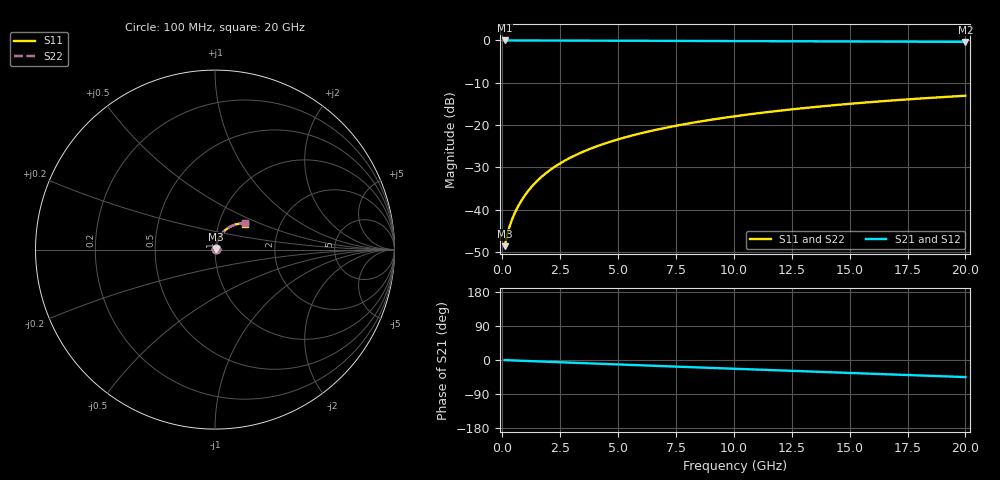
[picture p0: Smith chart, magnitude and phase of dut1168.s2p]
! Touchstone file exported from HFSS 2026.1.0
!  File:  C:/ffzhzh/LocalFiles/Ansys_Project_Files/temp_train_BSMRDL_1168_1783175908_22436.aedt
!  Generated:  10:39:42 PM Jul  4, 2026
!  Design:  BSMRDL
!  Project:  temp_train_BSMRDL_1168_1783175908_22436
! Variables:
!  h_bsmrdl = 4.24um
!  h_ox = 20um
!  h_rdl = 5um
!  h_sub = 80um
!  h_tmrdl = 5um
!  h_tsv = 80um
!  h_via = 3um
!  l_bsmrdl = 768.27um
!  l_sub = 1168.27um
!  l_tmrdl = 200um
!  m_sub = 200um
!  pitch = 32.4um
!  r_tsv = 6um
!  s_tmrdl = 10um
!  w_bsmrdl = 21.47um
!  w_sub = 500um
!  w_tmrdl = 12um
!  x_tsv_center1 = 206um
!  x_tsv_center2 = 995.74um
!  x_tsv_center3 = 1207.74um
!  x_tsv_center4 = 1997.48um
!  x_tsv_center5 = 2209.48um
!  x_tsv_center6 = 2999.22um
# GHz S MA R 50.000000
! Terminal data exported
! Port[1] = BSM_RDL1_1_T1
! Port[2] = BSM_RDL1_1_T2
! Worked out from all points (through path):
!   200 points, 100 MHz to 20 GHz, reference 50 ohm
!   highest |S21| = -0.03 dB at 100 MHz (marker M1); lowest = -0.4 dB at 20 GHz (marker M2)
!   group delay of S21, straight-line fit = 6.24 ps
!   lowest |S11| = -48.7 dB at 100 MHz (marker M3), VSWR 1.01, Z = 50.3 + j0.18 ohm
!   |S11| at or under -10 dB: start of sweep to end of sweep
!   |S22| runs from -48.7 to -13.1 dB; largest |S21 - S12| = 3e-15
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0.1  0.003688 29.1  0.9968 -0.3  0.9968 -0.3  0.003688 29.1
! Gamma 0 0 0 0
! Port Impedance 50 0 50 0
0.2  0.00489 43.7  0.9965 -0.5  0.9965 -0.5  0.00489 43.7
0.3  0.00614 51.5  0.9962 -0.8  0.9962 -0.8  0.00614 51.5
0.4  0.00737 56.6  0.996 -1.0  0.996 -1.0  0.00737 56.6
0.5  0.008603 60.4  0.9959 -1.2  0.9959 -1.2  0.008602 60.4
0.6  0.009851 63.4  0.9958 -1.5  0.9958 -1.5  0.009851 63.4
0.8  0.01241 67.6  0.9956 -1.9  0.9956 -1.9  0.01241 67.6
1  0.01503 70.3  0.9954 -2.4  0.9954 -2.4  0.01503 70.3
1.2  0.01769 72.1  0.9953 -2.9  0.9953 -2.9  0.01769 72.1
1.4  0.02037 73.3  0.9951 -3.3  0.9951 -3.3  0.02037 73.3
1.7  0.02441 74.4  0.9948 -4.1  0.9948 -4.1  0.02441 74.4
2.2  0.03114 75.0  0.9943 -5.2  0.9943 -5.2  0.03114 75.0
2.8  0.03915 74.9  0.9935 -6.6  0.9935 -6.6  0.03915 74.9
3.5  0.04836 74.1  0.9924 -8.3  0.9924 -8.3  0.04836 74.1
4.2  0.0574 73.0  0.9913 -9.9  0.9913 -9.9  0.0574 73.0
5  0.06751 71.6  0.9899 -11.7  0.9899 -11.7  0.06751 71.6
6.8  0.08948 68.0  0.9865 -15.9  0.9865 -15.9  0.08948 68.1
8.3  0.107 65.0  0.9836 -19.3  0.9836 -19.3  0.107 65.1
10.1  0.1272 61.3  0.98 -23.3  0.98 -23.3  0.1272 61.4
13.4  0.1619 54.6  0.9732 -30.6  0.9732 -30.6  0.1619 54.7
16.7  0.1934 47.8  0.9663 -37.9  0.9663 -37.9  0.1934 47.9
20  0.2213 41.0  0.9594 -45.1  0.9594 -45.1  0.2213 41.2
